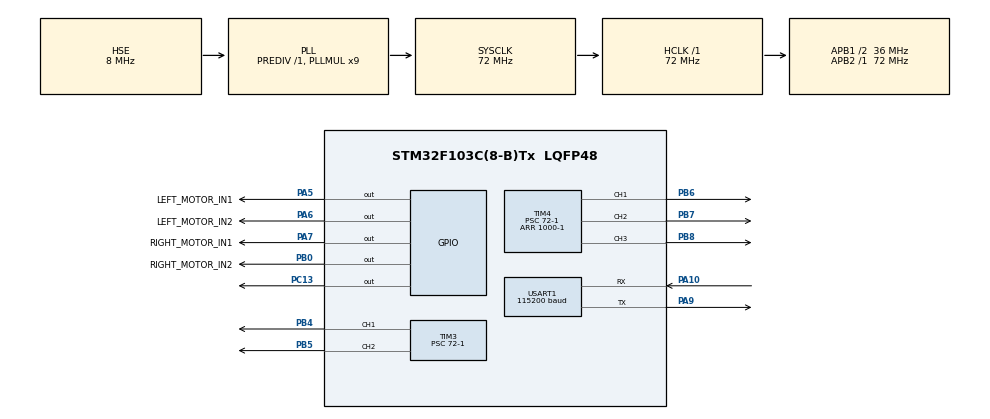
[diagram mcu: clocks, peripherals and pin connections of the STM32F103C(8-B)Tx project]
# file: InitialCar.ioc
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Dma.Request0=USART1_RX
Dma.Request1=USART1_TX
Dma.USART1_RX.0.Direction=DMA_PERIPH_TO_MEMORY
Dma.USART1_RX.0.Instance=DMA1_Channel5
Dma.USART1_RX.0.MemDataAlignment=DMA_MDATAALIGN_BYTE
Dma.USART1_RX.0.MemInc=DMA_MINC_ENABLE
Dma.USART1_RX.0.Mode=DMA_NORMAL
Dma.USART1_RX.0.PeriphDataAlignment=DMA_PDATAALIGN_BYTE
Dma.USART1_RX.0.PeriphInc=DMA_PINC_DISABLE
Dma.USART1_RX.0.Priority=DMA_PRIORITY_LOW
Dma.USART1_TX.1.Direction=DMA_MEMORY_TO_PERIPH
Dma.USART1_TX.1.Instance=DMA1_Channel4
Dma.USART1_TX.1.MemDataAlignment=DMA_MDATAALIGN_BYTE
Dma.USART1_TX.1.MemInc=DMA_MINC_ENABLE
Dma.USART1_TX.1.Mode=DMA_NORMAL
Dma.USART1_TX.1.PeriphDataAlignment=DMA_PDATAALIGN_BYTE
Dma.USART1_TX.1.PeriphInc=DMA_PINC_DISABLE
Dma.USART1_TX.1.Priority=DMA_PRIORITY_LOW
Mcu.Family=STM32F1
Mcu.Name=STM32F103C(8-B)Tx
Mcu.Package=LQFP48
NVIC.DMA1_Channel4_IRQn=true\:0\:0\:false\:false\:true\:false\:true\:true
NVIC.DMA1_Channel5_IRQn=true\:0\:0\:false\:false\:true\:false\:true\:true
NVIC.PriorityGroup=NVIC_PRIORITYGROUP_4
NVIC.USART1_IRQn=true\:0\:0\:false\:false\:true\:true\:true\:true
PA10.Mode=Asynchronous
PA10.Signal=USART1_RX
PA13.Mode=Serial_Wire
PA13.Signal=SYS_JTMS-SWDIO
PA14.Mode=Serial_Wire
PA14.Signal=SYS_JTCK-SWCLK
PA5.GPIO_Label=LEFT_MOTOR_IN1
PA5.Signal=GPIO_Output
PA6.GPIO_Label=LEFT_MOTOR_IN2
PA6.GPIO_PuPd=GPIO_PULLUP
PA6.Signal=GPIO_Output
PA7.GPIO_Label=RIGHT_MOTOR_IN1
PA7.Signal=GPIO_Output
PA9.Mode=Asynchronous
PA9.Signal=USART1_TX
PB0.GPIO_Label=RIGHT_MOTOR_IN2
PB0.Signal=GPIO_Output
PB4.Signal=S_TIM3_CH1
PB5.Signal=S_TIM3_CH2
PB6.Signal=S_TIM4_CH1
PB7.Signal=S_TIM4_CH2
PB8.Signal=S_TIM4_CH3
PC13-TAMPER-RTC.Signal=GPIO_Output
PD0-OSC_IN.Mode=HSE-External-Oscillator
PD0-OSC_IN.Signal=RCC_OSC_IN
PD1-OSC_OUT.Mode=HSE-External-Oscillator
PD1-OSC_OUT.Signal=RCC_OSC_OUT
ProjectManager.HeapSize=0x200
ProjectManager.StackSize=0x400
ProjectManager.TargetToolchain=CMake
RCC.AHBFreq_Value=72000000
RCC.APB1CLKDivider=RCC_HCLK_DIV2
RCC.APB1Freq_Value=36000000
RCC.APB1TimFreq_Value=72000000
RCC.APB2Freq_Value=72000000
RCC.APB2TimFreq_Value=72000000
RCC.HCLKFreq_Value=72000000
RCC.PLLMUL=RCC_PLL_MUL9
RCC.PLLSourceVirtual=RCC_PLLSOURCE_HSE
RCC.SYSCLKFreq_VALUE=72000000
RCC.SYSCLKSource=RCC_SYSCLKSOURCE_PLLCLK
RCC.USBFreq_Value=72000000
SH.S_TIM3_CH1.0=TIM3_CH1,PWM Generation1 CH1
SH.S_TIM3_CH2.0=TIM3_CH2,PWM Generation2 CH2
SH.S_TIM4_CH1.0=TIM4_CH1,PWM Generation1 CH1
SH.S_TIM4_CH2.0=TIM4_CH2,PWM Generation2 CH2
SH.S_TIM4_CH3.0=TIM4_CH3,PWM Generation3 CH3
TIM3.Channel-PWM\ Generation1\ CH1=TIM_CHANNEL_1
TIM3.Channel-PWM\ Generation2\ CH2=TIM_CHANNEL_2
TIM3.Period=20000-1
TIM3.Prescaler=72-1
TIM4.Channel-PWM\ Generation1\ CH1=TIM_CHANNEL_1
TIM4.Channel-PWM\ Generation2\ CH2=TIM_CHANNEL_2
TIM4.Channel-PWM\ Generation3\ CH3=TIM_CHANNEL_3
TIM4.Period=1000-1
TIM4.Prescaler=72-1
USART1.BaudRate=115200
USART1.VirtualMode=VM_ASYNC
VP_TIM3_VS_ClockSourceINT.Mode=Internal
VP_TIM4_VS_ClockSourceINT.Mode=Internal
board=custom

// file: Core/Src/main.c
/* USER CODE BEGIN Header */
/**
  ******************************************************************************
  * @file           : main.c
  * @brief          : Main program body
  ******************************************************************************
  * @attention
  *
  * Copyright (c) 2025 STMicroelectronics.
  * All rights reserved.
  *
  * This software is licensed under terms that can be found in the LICENSE file
  * in the root directory of this software component.
  * If no LICENSE file comes with this software, it is provided AS-IS.
  *
  ******************************************************************************
  */
/* USER CODE END Header */
#include "main.h"
#include "dma.h"
#include "stm32f1xx_hal_tim.h"
#include "tim.h"
#include "usart.h"
#include "gpio.h"

/* USER CODE BEGIN Includes */
#include "motor.h"
#include "sevro.h"
#include "BlueeTooth.h"
#include "string.h"
/* USER CODE END Includes */

void SystemClock_Config(void);

/* USER CODE BEGIN 0 */

// CarState_t car_state = CAR_STOP;//初始设置为停止状态

// 接收到的 1 个字节

/* USER CODE END 0 */

int main(void)
{

  /* USER CODE BEGIN 1 */
  // HAL_UART_Receive_IT(&huart1, rx_byte, 1);  // 开启串口接收中断,蓝牙接收数据

  /* USER CODE END 1 */

  /* MCU Configuration--------------------------------------------------------*/

  /* Reset of all peripherals, Initializes the Flash interface and the Systick. */
  HAL_Init();

  /* Configure the system clock */
  SystemClock_Config();

  /* Initialize all configured peripherals */
  MX_GPIO_Init();
  MX_DMA_Init();
  MX_TIM4_Init();
  MX_USART1_UART_Init();
  MX_TIM3_Init();
  /* USER CODE BEGIN 2 */
  HAL_TIM_Base_Start(&htim4);
  HAL_TIM_Base_Start(&htim3);
  HAL_TIM_PWM_Start(&htim4, TIM_CHANNEL_2);
  HAL_TIM_PWM_Start(&htim4, TIM_CHANNEL_3);
  HAL_TIM_PWM_Start(&htim3, TIM_CHANNEL_1);
  HAL_TIM_PWM_Start(&htim3, TIM_CHANNEL_2);

  Motor_Init();
  // HAL_UART_Receive_IT(&huart1, mes, 5);
  HAL_UARTEx_ReceiveToIdle_DMA(&huart1, (uint8_t *)mes, sizeof(mes));
  __HAL_DMA_DISABLE_IT(&hdma_usart1_rx, DMA_IT_HT);
  HAL_Delay(300);
  __HAL_TIM_SET_COMPARE(&htim3, TIM_CHANNEL_1, 500);
  __HAL_TIM_SET_COMPARE(&htim3, TIM_CHANNEL_2, 500);
  /* USER CODE END 2 */

  /* Infinite loop */
  /* USER CODE BEGIN WHILE */
  while (1)
  {

    if(car_state == CAR_FORWARD)  // 前进
    {
      Car_MoveForward(speed);
    }
    else if(car_state == CAR_BACKWARD)  // 后退
    {
      Car_MoveBackward(speed);
    }
    else if(car_state == CAR_LEFT)  // 左转
    {
    Car_TurnLeft(speed1);
    }
    else if(car_state == CAR_RIGHT)  // 右转
    {
     Car_TurnRight(speed1);
    }
    else if (car_state == CAR_ROTATE_LEFT) {
      Car_RotateLeft(speed1);
    }
    else if (car_state == CAR_ROTATE_RIGHT) {
      Car_RotateRight(speed1);
    }
    else if(car_state == CAR_STOP)  // 停止
    {
      Car_Stop();
    }
    else if(car_state == CAR_CLOSE)  // 停止
    {
      Car_Close();
    }
    else if(car_state == CAR_OPEN)  // 停止
    {
      Car_Open(angle1);
    }
    else if(car_state == CAR_PRESS)  // 停止
    {
      Car_Press(angle2);
    }
    else if (car_state == CAR_RELEASE) {
      Car_Release();

    }

    /* USER CODE END WHILE */

  }
}

void SystemClock_Config(void)
{
  RCC_OscInitTypeDef RCC_OscInitStruct = {0};
  RCC_ClkInitTypeDef RCC_ClkInitStruct = {0};

  /** Initializes the RCC Oscillators according to the specified parameters
  * in the RCC_OscInitTypeDef structure.
  */
  RCC_OscInitStruct.OscillatorType = RCC_OSCILLATORTYPE_HSE;
  RCC_OscInitStruct.HSEState = RCC_HSE_ON;
  RCC_OscInitStruct.HSEPredivValue = RCC_HSE_PREDIV_DIV1;
  RCC_OscInitStruct.HSIState = RCC_HSI_ON;
  RCC_OscInitStruct.PLL.PLLState = RCC_PLL_ON;
  RCC_OscInitStruct.PLL.PLLSource = RCC_PLLSOURCE_HSE;
  RCC_OscInitStruct.PLL.PLLMUL = RCC_PLL_MUL9;
  if (HAL_RCC_OscConfig(&RCC_OscInitStruct) != HAL_OK)
  {
    Error_Handler();
  }

  /** Initializes the CPU, AHB and APB buses clocks
  */
  RCC_ClkInitStruct.ClockType = RCC_CLOCKTYPE_HCLK|RCC_CLOCKTYPE_SYSCLK
                              |RCC_CLOCKTYPE_PCLK1|RCC_CLOCKTYPE_PCLK2;
  RCC_ClkInitStruct.SYSCLKSource = RCC_SYSCLKSOURCE_PLLCLK;
  RCC_ClkInitStruct.AHBCLKDivider = RCC_SYSCLK_DIV1;
  RCC_ClkInitStruct.APB1CLKDivider = RCC_HCLK_DIV2;
  RCC_ClkInitStruct.APB2CLKDivider = RCC_HCLK_DIV1;

  if (HAL_RCC_ClockConfig(&RCC_ClkInitStruct, FLASH_LATENCY_2) != HAL_OK)
  {
    Error_Handler();
  }
}

void Error_Handler(void)
{
  __disable_irq();
  while (1)
  {
  }
}
